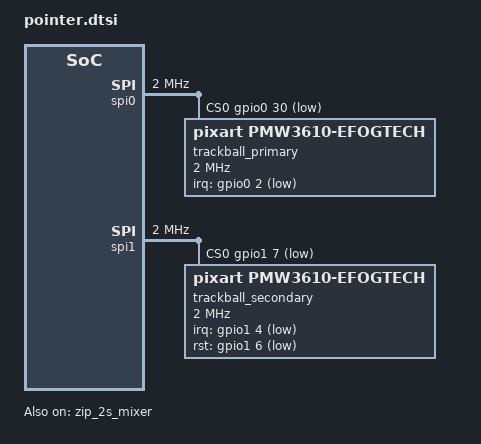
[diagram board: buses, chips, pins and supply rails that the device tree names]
#include <dt-bindings/zmk/p2sm.h>
#include <input/processors/p2sm.dtsi>
#include <input/processors/axis_clamper.dtsi>
#include <input/processors/report_rate_limit.dtsi>
#include <input/processors/accel_curve.dtsi>
#include <behaviors/p2sm_behaviors.dtsi>
#include <behaviors/rate_limit.dtsi>
#include <behaviors/auto_hold.dtsi>

&zip_2s_mixer {
	status = "okay";
	sync-report-ms = <1>;

	sync-scroll-report-ms = <8>;
	twist-thres = <3>;
	twist-interference-thres = <200>;
	twist-interference-window = <8>;

	// arbitrary bounding box (0, 0, 0) - (255, 255, 255)
	ball-radius = <102>; // maximum = 127
	sensor1-pos = [31 4B 2D];  // X Y Z
	sensor2-pos = [C1 3C 2D];

	feedback-gpios = <&gpio0 24 GPIO_ACTIVE_HIGH>;
	feedback-extra-gpios = <&gpio1 0 GPIO_ACTIVE_HIGH>;
	twist-feedback-threshold = <20>;
	twist-feedback-delay = <8>;
	twist-feedback-duration = <50>;
};

/ {
	behaviors {
		rrl {
			feedback-gpios = <&gpio0 24 GPIO_ACTIVE_HIGH>;
			feedback-extra-gpios = <&gpio1 0 GPIO_ACTIVE_HIGH>;
		};

		p2sm_sensitivity {
			feedback-gpios = <&gpio0 24 GPIO_ACTIVE_HIGH>;
			feedback-extra-gpios = <&gpio1 0 GPIO_ACTIVE_HIGH>;
		};

		p2sm_scroll_sensitivity {
			feedback-gpios = <&gpio0 24 GPIO_ACTIVE_HIGH>;
			feedback-extra-gpios = <&gpio1 0 GPIO_ACTIVE_HIGH>;
		};

		p2sm_sens_toggle {
			feedback-gpios = <&gpio0 24 GPIO_ACTIVE_HIGH>;
			feedback-extra-gpios = <&gpio1 0 GPIO_ACTIVE_HIGH>;
		};
	};

	trackball {
		compatible = "zmk,input-listener";
		device = <&zip_2s_mixer>;
		input-processors = <&zip_ble_report_rate_limit>;
	};

	trackball_primary_listener: trackball_primary_listener {
		compatible = "zmk,input-listener";
		device = <&trackball_primary>;
		input-processors = <&zip_2s_mixer INPUT_MIXER_SENSOR1>;
	};

	trackball_secondary_listener: trackball_secondary_listener {
		compatible = "zmk,input-listener";
		device = <&trackball_secondary>;
		input-processors = <&zip_2s_mixer INPUT_MIXER_SENSOR2>;
	};
};

&spi0 {
	status = "okay";
	compatible = "nordic,nrf-spim";
	pinctrl-0 = <&spi0_default>;
	pinctrl-1 = <&spi0_sleep>;
	pinctrl-names = "default", "sleep";
	cs-gpios = <&gpio0 30 GPIO_ACTIVE_LOW>;
	clock-frequency = <2000000>;

	trackball_primary: trackball_primary@0 {
		status = "okay";
		compatible = "pixart,pmw3610-efogtech";
		init-retry-interval = <20>;
		init-retry-count = <100>;
		reg = <0>;
		spi-max-frequency = <2000000>;
		irq-gpios = <&gpio0 2 GPIO_ACTIVE_LOW>;
		cpi = <3200>;
		evt-type = <INPUT_EV_REL>;
		x-input-code = <INPUT_REL_X>;
		y-input-code = <INPUT_REL_Y>;

		force-awake;
		force-high-performance;
		xy-swap;
		x-invert;
		y-invert;
	};
};

&spi1 {
	status = "okay";
	compatible = "nordic,nrf-spim";
	pinctrl-0 = <&spi1_default>;
	pinctrl-1 = <&spi1_sleep>;
	pinctrl-names = "default", "sleep";
	cs-gpios = <&gpio1 7 GPIO_ACTIVE_LOW>;
	clock-frequency = <2000000>;

	trackball_secondary: trackball_secondary@0 {
		status = "okay";
		compatible = "pixart,pmw3610-efogtech";
		init-retry-interval = <20>;
		init-retry-count = <100>;
		reg = <0>;
		spi-max-frequency = <2000000>;
		irq-gpios = <&gpio1 4 GPIO_ACTIVE_LOW>;
		rst-gpios = <&gpio1 6 GPIO_ACTIVE_LOW>;
		cpi = <3200>;
		evt-type = <INPUT_EV_REL>;
		x-input-code = <INPUT_REL_X>;
		y-input-code = <INPUT_REL_Y>;

		force-awake;
		force-high-performance;
		xy-swap;
		enable-pm-support;
	};
};
